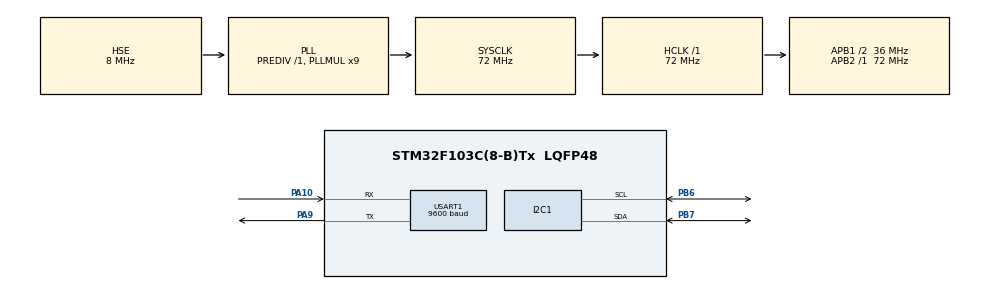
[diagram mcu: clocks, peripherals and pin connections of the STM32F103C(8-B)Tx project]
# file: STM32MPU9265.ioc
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Mcu.Family=STM32F1
Mcu.Name=STM32F103C(8-B)Tx
Mcu.Package=LQFP48
NVIC.I2C1_ER_IRQn=true\:0\:0\:false\:false\:true\:true\:true
NVIC.I2C1_EV_IRQn=true\:0\:0\:false\:false\:true\:true\:true
NVIC.PriorityGroup=NVIC_PRIORITYGROUP_4
NVIC.TIM1_UP_IRQn=true\:0\:0\:false\:false\:true\:false\:true
NVIC.TimeBase=TIM1_UP_IRQn
NVIC.TimeBaseIP=TIM1
PA10.Mode=Asynchronous
PA10.Signal=USART1_RX
PA13.Mode=Serial_Wire
PA13.Signal=SYS_JTMS-SWDIO
PA14.Mode=Serial_Wire
PA14.Signal=SYS_JTCK-SWCLK
PA9.Mode=Asynchronous
PA9.Signal=USART1_TX
PB6.Mode=I2C
PB6.Signal=I2C1_SCL
PB7.Mode=I2C
PB7.Signal=I2C1_SDA
PC14-OSC32_IN.Mode=LSE-External-Oscillator
PC14-OSC32_IN.Signal=RCC_OSC32_IN
PC15-OSC32_OUT.Mode=LSE-External-Oscillator
PC15-OSC32_OUT.Signal=RCC_OSC32_OUT
PD0-OSC_IN.Mode=HSE-External-Oscillator
PD0-OSC_IN.Signal=RCC_OSC_IN
PD1-OSC_OUT.Mode=HSE-External-Oscillator
PD1-OSC_OUT.Signal=RCC_OSC_OUT
ProjectManager.HeapSize=0x200
ProjectManager.StackSize=0x400
ProjectManager.TargetToolchain=SW4STM32
RCC.AHBFreq_Value=72000000
RCC.APB1CLKDivider=RCC_HCLK_DIV2
RCC.APB1Freq_Value=36000000
RCC.APB1TimFreq_Value=72000000
RCC.APB2Freq_Value=72000000
RCC.APB2TimFreq_Value=72000000
RCC.HCLKFreq_Value=72000000
RCC.PLLMUL=RCC_PLL_MUL9
RCC.PLLSourceVirtual=RCC_PLLSOURCE_HSE
RCC.SYSCLKFreq_VALUE=72000000
RCC.SYSCLKSource=RCC_SYSCLKSOURCE_PLLCLK
RCC.USBFreq_Value=72000000
USART1.BaudRate=9600
USART1.VirtualMode=VM_ASYNC
VP_SYS_VS_tim1.Mode=TIM1
board=custom

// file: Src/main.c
/* USER CODE BEGIN Header */
/**
 ******************************************************************************
 * @file           : main.c
 * @brief          : Main program body
 ******************************************************************************
 * @attention
 *
 * <h2><center>&copy; Copyright (c) 2019 STMicroelectronics.
 * All rights reserved.</center></h2>
 *
 * This software component is licensed by ST under BSD 3-Clause license,
 * the "License"; You may not use this file except in compliance with the
 * License. You may obtain a copy of the License at:
 *                        opensource.org/licenses/BSD-3-Clause
 *
 ******************************************************************************
 */
/* USER CODE END Header */

#include "main.h"

/* USER CODE BEGIN Includes */
#include "IMU9265Dvr.h"
/* USER CODE END Includes */

I2C_HandleTypeDef hi2c1;

UART_HandleTypeDef huart1;

void SystemClock_Config(void);
static void MX_GPIO_Init(void);
static void MX_I2C1_Init(void);
static void MX_USART1_UART_Init(void);
/* USER CODE BEGIN PFP */
extern void initialise_monitor_handles(void);
/* USER CODE END PFP */

/* USER CODE BEGIN 0 */
int myprintf(const char *format, ...)
{
	char buf[200];
	va_list ap;
	va_start(ap, format);
	vsnprintf(buf, sizeof(buf), format, ap);
	HAL_UART_Transmit(&huart1,(uint8_t*)buf,strlen(buf),100);
	va_end(ap);
	return 0;
}

void scanI2CBus()
{
	myprintf("Scanning I2C bus:\r\n");
	HAL_StatusTypeDef result;
	uint8_t i;
	for (i=1; i<128; i++)
	{
		/*
		 * the HAL wants a left aligned i2c address
		 * &hi2c1 is the handle
		 * (uint16_t)(i<<1) is the i2c address left aligned
		 * retries 2
		 * timeout 2
		 */
		result = HAL_I2C_IsDeviceReady(&hi2c1, (uint16_t)(i<<1), 2, 2);
		if (result != HAL_OK) // HAL_ERROR or HAL_BUSY or HAL_TIMEOUT
		{
			myprintf("."); // No ACK received at that address
		}
		if (result == HAL_OK)
		{
			myprintf("0x%X", i); // Received an ACK at that address
		}
	}
	myprintf("\r\n");
}
/* USER CODE END 0 */

int main(void)
{

	/* MCU Configuration--------------------------------------------------------*/

	/* Reset of all peripherals, Initializes the Flash interface and the Systick. */
	HAL_Init();

	/* Configure the system clock */
	SystemClock_Config();

	/* Initialize all configured peripherals */
	MX_GPIO_Init();
	MX_I2C1_Init();
	MX_USART1_UART_Init();
	/* USER CODE BEGIN 2 */
	initialise_monitor_handles();
	myprintf("Code Begines\n");

	scanI2CBus();

	/* USER CODE END 2 */

	/* Infinite loop */
	while (1)
	{

		/* USER CODE BEGIN 3 */
		mainApp();
		HAL_Delay(10);
	}
	/* USER CODE END 3 */
}

void SystemClock_Config(void)
{
	RCC_OscInitTypeDef RCC_OscInitStruct = {0};
	RCC_ClkInitTypeDef RCC_ClkInitStruct = {0};

	/** Initializes the CPU, AHB and APB busses clocks
	 */
	RCC_OscInitStruct.OscillatorType = RCC_OSCILLATORTYPE_HSE;
	RCC_OscInitStruct.HSEState = RCC_HSE_ON;
	RCC_OscInitStruct.HSEPredivValue = RCC_HSE_PREDIV_DIV1;
	RCC_OscInitStruct.HSIState = RCC_HSI_ON;
	RCC_OscInitStruct.PLL.PLLState = RCC_PLL_ON;
	RCC_OscInitStruct.PLL.PLLSource = RCC_PLLSOURCE_HSE;
	RCC_OscInitStruct.PLL.PLLMUL = RCC_PLL_MUL9;
	if (HAL_RCC_OscConfig(&RCC_OscInitStruct) != HAL_OK)
	{
		Error_Handler();
	}
	/** Initializes the CPU, AHB and APB busses clocks
	 */
	RCC_ClkInitStruct.ClockType = RCC_CLOCKTYPE_HCLK|RCC_CLOCKTYPE_SYSCLK
			|RCC_CLOCKTYPE_PCLK1|RCC_CLOCKTYPE_PCLK2;
	RCC_ClkInitStruct.SYSCLKSource = RCC_SYSCLKSOURCE_PLLCLK;
	RCC_ClkInitStruct.AHBCLKDivider = RCC_SYSCLK_DIV1;
	RCC_ClkInitStruct.APB1CLKDivider = RCC_HCLK_DIV2;
	RCC_ClkInitStruct.APB2CLKDivider = RCC_HCLK_DIV1;

	if (HAL_RCC_ClockConfig(&RCC_ClkInitStruct, FLASH_LATENCY_2) != HAL_OK)
	{
		Error_Handler();
	}
}

static void MX_I2C1_Init(void)
{

	hi2c1.Instance = I2C1;
	hi2c1.Init.ClockSpeed = 100000;
	hi2c1.Init.DutyCycle = I2C_DUTYCYCLE_2;
	hi2c1.Init.OwnAddress1 = 0;
	hi2c1.Init.AddressingMode = I2C_ADDRESSINGMODE_7BIT;
	hi2c1.Init.DualAddressMode = I2C_DUALADDRESS_DISABLE;
	hi2c1.Init.OwnAddress2 = 0;
	hi2c1.Init.GeneralCallMode = I2C_GENERALCALL_DISABLE;
	hi2c1.Init.NoStretchMode = I2C_NOSTRETCH_DISABLE;
	if (HAL_I2C_Init(&hi2c1) != HAL_OK)
	{
		Error_Handler();
	}

}

static void MX_USART1_UART_Init(void)
{

	huart1.Instance = USART1;
	huart1.Init.BaudRate = 9600;
	huart1.Init.WordLength = UART_WORDLENGTH_8B;
	huart1.Init.StopBits = UART_STOPBITS_1;
	huart1.Init.Parity = UART_PARITY_NONE;
	huart1.Init.Mode = UART_MODE_TX_RX;
	huart1.Init.HwFlowCtl = UART_HWCONTROL_NONE;
	huart1.Init.OverSampling = UART_OVERSAMPLING_16;
	if (HAL_UART_Init(&huart1) != HAL_OK)
	{
		Error_Handler();
	}

}

static void MX_GPIO_Init(void)
{

	/* GPIO Ports Clock Enable */
	__HAL_RCC_GPIOC_CLK_ENABLE();
	__HAL_RCC_GPIOD_CLK_ENABLE();
	__HAL_RCC_GPIOA_CLK_ENABLE();
	__HAL_RCC_GPIOB_CLK_ENABLE();

}

void HAL_TIM_PeriodElapsedCallback(TIM_HandleTypeDef *htim)
{
	if (htim->Instance == TIM1) {
		HAL_IncTick();
	}
}

void Error_Handler(void)
{
}

#ifdef  USE_FULL_ASSERT
/**
 * @brief  Reports the name of the source file and the source line number
 *         where the assert_param error has occurred.
 * @param  file: pointer to the source file name
 * @param  line: assert_param error line source number
 * @retval None
 */
void assert_failed(uint8_t *file, uint32_t line)
{
	/* USER CODE BEGIN 6 */
	/* User can add his own implementation to report the file name and line number,
     tex: myprintf("Wrong parameters value: file %s on line %d\r\n", file, line) */
	/* USER CODE END 6 */
}
#endif /* USE_FULL_ASSERT */

/************************ (C) COPYRIGHT STMicroelectronics *****END OF FILE****/
